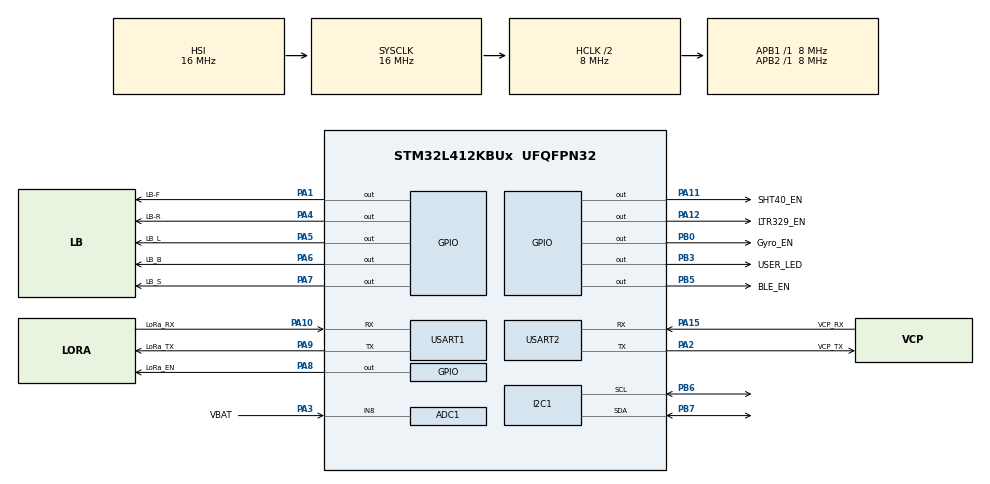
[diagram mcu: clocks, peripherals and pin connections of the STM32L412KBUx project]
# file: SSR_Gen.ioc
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ADC1.Channel-1\#ChannelRegularConversion=ADC_CHANNEL_8
ADC1.NbrOfConversionFlag=1
ADC1.OffsetNumber-1\#ChannelRegularConversion=ADC_OFFSET_NONE
ADC1.Rank-1\#ChannelRegularConversion=1
ADC1.SamplingTime-1\#ChannelRegularConversion=ADC_SAMPLETIME_2CYCLES_5
ADC1.master=1
I2C1.Timing=0x00201D2B
Mcu.Family=STM32L4
Mcu.Name=STM32L412KBUx
Mcu.Package=UFQFPN32
NVIC.ADC1_2_IRQn=true\:0\:0\:false\:false\:true\:true\:true\:true
NVIC.PriorityGroup=NVIC_PRIORITYGROUP_4
NVIC.RTC_WKUP_IRQn=true\:0\:0\:false\:false\:true\:true\:true\:true
PA0-CK_IN.Mode=HSE-External-Clock-Source-for-LittleOrca
PA0-CK_IN.Signal=RCC_CK_IN
PA1.GPIO_Label=LB-F
PA1.GPIO_PuPd=GPIO_NOPULL
PA1.PinState=GPIO_PIN_RESET
PA1.Signal=GPIO_Output
PA10.GPIO_Label=LoRa_RX
PA10.Mode=Asynchronous
PA10.Signal=USART1_RX
PA11.GPIO_Label=SHT40_EN
PA11.GPIO_PuPd=GPIO_PULLDOWN
PA11.Signal=GPIO_Output
PA12.GPIO_Label=LTR329_EN
PA12.GPIO_PuPd=GPIO_PULLDOWN
PA12.Signal=GPIO_Output
PA13\ (JTMS/SWDIO).GPIO_Label=SWDIO
PA13\ (JTMS/SWDIO).Mode=Serial_Wire
PA13\ (JTMS/SWDIO).Signal=SYS_JTMS-SWDIO
PA14\ (JTCK/SWCLK).GPIO_Label=SWCLK
PA14\ (JTCK/SWCLK).Mode=Serial_Wire
PA14\ (JTCK/SWCLK).Signal=SYS_JTCK-SWCLK
PA15\ (JTDI).GPIO_Label=VCP_RX
PA15\ (JTDI).Mode=Asynchronous
PA15\ (JTDI).Signal=USART2_RX
PA2.GPIO_Label=VCP_TX
PA2.Mode=Asynchronous
PA2.Signal=USART2_TX
PA3.GPIO_Label=VBAT
PA3.Signal=ADCx_IN8
PA4.GPIO_Label=LB-R
PA4.GPIO_PuPd=GPIO_NOPULL
PA4.PinState=GPIO_PIN_RESET
PA4.Signal=GPIO_Output
PA5.GPIO_Label=LB_L
PA5.GPIO_PuPd=GPIO_NOPULL
PA5.PinState=GPIO_PIN_RESET
PA5.Signal=GPIO_Output
PA6.GPIO_Label=LB_B
PA6.GPIO_PuPd=GPIO_NOPULL
PA6.PinState=GPIO_PIN_RESET
PA6.Signal=GPIO_Output
PA7.GPIO_Label=LB_S
PA7.GPIO_PuPd=GPIO_NOPULL
PA7.Signal=GPIO_Output
PA8.GPIO_Label=LoRa_EN
PA8.GPIO_PuPd=GPIO_PULLDOWN
PA8.Signal=GPIO_Output
PA9.GPIO_Label=LoRa_TX
PA9.Mode=Asynchronous
PA9.Signal=USART1_TX
PB0.GPIO_Label=Gyro_EN
PB0.GPIO_PuPd=GPIO_PULLDOWN
PB0.Signal=GPIO_Output
PB3\ (JTDO/TRACESWO).GPIO_Label=USER_LED
PB3\ (JTDO/TRACESWO).GPIO_PuPd=GPIO_NOPULL
PB3\ (JTDO/TRACESWO).Signal=GPIO_Output
PB5.GPIO_Label=BLE_EN
PB5.GPIO_PuPd=GPIO_PULLDOWN
PB5.Signal=GPIO_Output
PB6.GPIO_Pu=GPIO_NOPULL
PB6.Mode=I2C
PB6.Signal=I2C1_SCL
PB7.GPIO_Pu=GPIO_NOPULL
PB7.Mode=I2C
PB7.Signal=I2C1_SDA
PC14-OSC32_IN\ (PC14).Mode=LSE-External-Oscillator
PC14-OSC32_IN\ (PC14).Signal=RCC_OSC32_IN
PC15-OSC32_OUT\ (PC15).Mode=LSE-External-Oscillator
PC15-OSC32_OUT\ (PC15).Signal=RCC_OSC32_OUT
ProjectManager.HeapSize=0x200
ProjectManager.StackSize=0x400
ProjectManager.TargetToolchain=EWARM V8.32
RCC.ADCFreq_Value=16000000
RCC.AHBCLKDivider=RCC_SYSCLK_DIV2
RCC.AHBFreq_Value=8000000
RCC.APB1Freq_Value=8000000
RCC.APB1TimFreq_Value=8000000
RCC.APB2Freq_Value=8000000
RCC.APB2TimFreq_Value=8000000
RCC.CortexFreq_Value=8000000
RCC.HCLKFreq_Value=8000000
RCC.HSE_VALUE=8000000
RCC.HSI48_VALUE=48000000
RCC.HSI_VALUE=16000000
RCC.MSIClockRange=RCC_MSIRANGE_8
RCC.MSI_VALUE=16000000
RCC.PLLSourceVirtual=RCC_PLLSOURCE_HSI
RCC.SYSCLKFreq_VALUE=16000000
RCC.SYSCLKSource=RCC_SYSCLKSOURCE_HSI
RCC.USBFreq_Value=16000000
RCC.VCOOutputFreq_Value=128000000
RTC.WakeUpCounter=0x500B
SH.ADCx_IN8.0=ADC1_IN8,IN8-Single-Ended
USART1.VirtualMode-Asynchronous=VM_ASYNC
USART2.VirtualMode-Asynchronous=VM_ASYNC
VP_RTC_VS_RTC_Activate.Mode=RTC_Enabled
VP_RTC_VS_RTC_Calendar.Mode=RTC_Calendar
VP_RTC_VS_RTC_WakeUp_intern.Mode=WakeUp
board=NUCLEO-L412KB

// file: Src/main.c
/* USER CODE BEGIN Header */
/**
 ******************************************************************************
 * @file           : main.c
 * @brief          : Main program body
 ******************************************************************************
 * @attention
 *
 * Copyright (c) 2024 STMicroelectronics.
 * All rights reserved.
 *
 * This software is licensed under terms that can be found in the LICENSE file
 * in the root directory of this software component.
 * If no LICENSE file comes with this software, it is provided AS-IS.
 *
 ******************************************************************************
 */
/* USER CODE END Header */
#include "main.h"
#include "adc.h"
#include "i2c.h"
#include "rtc.h"
#include "usart.h"
#include "gpio.h"

/* USER CODE BEGIN Includes */
#include "ble_module.h"
#include "ltr329.h"
#include "sht40.h"
#include "linebot.h"
#include "gyro.h"
#include "wio5e.h"
/* USER CODE END Includes */

/* USER CODE BEGIN PD */

/* Comment when no debug needed */
#define DEBUG

#define SCAN_AIR_TIME 5000
#define BEACON_AIR_TIME 7000
#define SLEEP_TIME 10000
/* USER CODE END PD */

/* USER CODE BEGIN PV */
ble_module_data_t ble_data;
ble_beacon_result_t ble_beacon_result;
ble_scan_result_t ble_scan_result;
ssr_data_t ssr_data[256];
uint8_t ssr_data_index = 0;

uint8_t bool_buffer = 0;

/* UART BUFFER */
uint8_t Buffer[140] = {0};

/* USER CODE END PV */

void SystemClock_Config(void);
/* USER CODE BEGIN PFP */
void clearBuf();
/* USER CODE END PFP */

int main(void)
{

  /* MCU Configuration--------------------------------------------------------*/

  /* Reset of all peripherals, Initializes the Flash interface and the Systick. */
  HAL_Init();

  /* USER CODE BEGIN Init */

  /* I2C lib function calls */
  // bleDelayCallback(HAL_Delay);
  bleDelayCallback(half_sleep);
  bleSendCallback(HAL_I2C_Master_Transmit);
  bleReceiveCallback(HAL_I2C_Master_Receive);
  bleAvailableCallback(HAL_I2C_IsDeviceReady);
  bleWakeCallback(wakeBleModule);

  /* ltr-386 lib function calls */
  // ltrDelayCallback(HAL_Delay);
  ltrDelayCallback(half_sleep);
  // ltrWakeCallback(wakeltrModule);
  // ltrSleepCallback(sleepltrModule);

  /* sht40 lob function calls */
  // sht40DelayCallback(HAL_Delay);
  sht40DelayCallback(half_sleep);

  /* LineBot lob function calls */
  // lineBotDelayCallback(HAL_Delay);
  lineBotDelayCallback(half_sleep);

  /* LineBot lob function calls */
  loraDelayCallback(half_sleep);

  /* mpu6050 lob function calls */
  // gyroDelayCallback(HAL_Delay);
  gyroDelayCallback(half_sleep);

  /* USER CODE END Init */

  /* Configure the system clock */
  SystemClock_Config();

  /* USER CODE BEGIN SysInit */

  /* low power clock configuration */
  // lpClockConfigCallback(SystemClock_Config);

  /* USER CODE END SysInit */

  /* Initialize all configured peripherals */
  MX_GPIO_Init();
  MX_I2C1_Init();
  MX_USART2_UART_Init();
  MX_RTC_Init();
  MX_ADC1_Init();
  MX_USART1_UART_Init();
  /* USER CODE BEGIN 2 */
  // HAL_Delay(2000);
  /* USER CODE END 2 */

  /* Infinite loop */
  /* USER CODE BEGIN WHILE */

  while (1)
  {
    ssr_data[ssr_data_index].seq_number = ssr_data_index; // Define sequence number

#ifdef DEBUG
    clearBuf();
    sprintf((char *)Buffer, "\r\n Start on id: %d\r\n", SSR_ID);
    serial_print((char *)Buffer);
#endif

    taskReadBattery(); // Read the ADC voltage

    // Determine path of execution based on voltage (energy) available
    taskDetermineTasks();

    if (checkBool(&bool_buffer, TASK_SENS))
    {
      taskSens();                         // Do the task
      clearBool(&bool_buffer, TASK_SENS); // Clear the bit in bool_buffer
    }

    if (checkBool(&bool_buffer, TASK_STORE))
    {
      taskStore();                         // Do the task
      clearBool(&bool_buffer, TASK_STORE); // Clear the bit in bool_buffer
    }

    if (checkBool(&bool_buffer, TASK_LORA))
    {
      taskLora();                         // Do the task
      clearBool(&bool_buffer, TASK_LORA); // Clear the bit in bool_buffer
    }

    if (checkBool(&bool_buffer, TASK_SCAN))
    {
      taskScan();                         // Do the task
      clearBool(&bool_buffer, TASK_SCAN); // Clear the bit in bool_buffer
    }

    if (checkBool(&bool_buffer, TASK_BEACON))
    {
      half_sleep(2000);                     // Wait a while before starting the BLE up again.
      taskBeacon();                         // Do the task
      clearBool(&bool_buffer, TASK_BEACON); // Clear the bit in bool_buffer
    }

    if (checkBool(&bool_buffer, TASK_DRIVE))
    {
      taskDrive();                         // Do the task
      clearBool(&bool_buffer, TASK_DRIVE); // Clear the bit in bool_buffer
    }

    if (checkBool(&bool_buffer, TASK_DEEP_SLEEP))
    {
      taskDeepSleep();                          // Do the task
      clearBool(&bool_buffer, TASK_DEEP_SLEEP); // Clear the bit in bool_buffer
    }

    if (checkBool(&bool_buffer, TASK_LIGHT_SLEEP))
    {
      taskLightSleep();                          // Do the task
      clearBool(&bool_buffer, TASK_LIGHT_SLEEP); // Clear the bit in bool_buffer
    }

    // Program shouldn't reach this place if deep sleep is used
    /* USER CODE END WHILE */

  }
}

void SystemClock_Config(void)
{
  RCC_OscInitTypeDef RCC_OscInitStruct = {0};
  RCC_ClkInitTypeDef RCC_ClkInitStruct = {0};

  /** Configure the main internal regulator output voltage
   */
  if (HAL_PWREx_ControlVoltageScaling(PWR_REGULATOR_VOLTAGE_SCALE1) != HAL_OK)
  {
    Error_Handler();
  }

  /** Initializes the RCC Oscillators according to the specified parameters
   * in the RCC_OscInitTypeDef structure.
   */
  RCC_OscInitStruct.OscillatorType = RCC_OSCILLATORTYPE_HSI | RCC_OSCILLATORTYPE_LSI;
  RCC_OscInitStruct.HSIState = RCC_HSI_ON;
  RCC_OscInitStruct.HSICalibrationValue = RCC_HSICALIBRATION_DEFAULT;
  RCC_OscInitStruct.LSIState = RCC_LSI_ON;
  RCC_OscInitStruct.PLL.PLLState = RCC_PLL_NONE;
  if (HAL_RCC_OscConfig(&RCC_OscInitStruct) != HAL_OK)
  {
    Error_Handler();
  }

  /** Initializes the CPU, AHB and APB buses clocks
   */
  RCC_ClkInitStruct.ClockType = RCC_CLOCKTYPE_HCLK | RCC_CLOCKTYPE_SYSCLK | RCC_CLOCKTYPE_PCLK1 | RCC_CLOCKTYPE_PCLK2;
  RCC_ClkInitStruct.SYSCLKSource = RCC_SYSCLKSOURCE_HSI;
  RCC_ClkInitStruct.AHBCLKDivider = RCC_SYSCLK_DIV2;
  RCC_ClkInitStruct.APB1CLKDivider = RCC_HCLK_DIV1;
  RCC_ClkInitStruct.APB2CLKDivider = RCC_HCLK_DIV1;

  if (HAL_RCC_ClockConfig(&RCC_ClkInitStruct, FLASH_LATENCY_0) != HAL_OK)
  {
    Error_Handler();
  }
}

/* USER CODE BEGIN 4 */

void test_code()
{
  char Buffer[16] = {0};
  sprintf(Buffer, "Test code\r\n");
  serial_print(Buffer);
}

void taskReadBattery()
{
  ssr_data[ssr_data_index].dev_voltage = (readVoltage(&hadc1)) * 10000.0; // Convert to value and save only int

#ifdef DEBUG
  clearBuf();
  sprintf((char *)Buffer, "taskReadBattery - mV: %d \r\n", ssr_data[ssr_data_index].dev_voltage / 10);
  serial_print((char *)Buffer);
#endif
}

void taskDetermineTasks()
{
  // Do this based on the voltage value.
  // For now, we use light sleep due to no non-volatile memory available

  if (ssr_data[ssr_data_index].dev_voltage / 10 > VOLTAGE_MAX_LOW * 1000) // Fully charged
  {
    bool_buffer = 0b10111111; // Do all tasks
  }
  else if (ssr_data[ssr_data_index].dev_voltage / 10 < VOLTAGE_SEM_MAX_HIGH * 1000 && ssr_data[ssr_data_index].dev_voltage / 10 >= (double)VOLTAGE_SEM_MAX_LOW * 1000)
  {
    bool_buffer = 0b10011111; // Do not drive
  }
  else if (ssr_data[ssr_data_index].dev_voltage / 10 < VOLTAGE_MED_HIGH * 1000 && ssr_data[ssr_data_index].dev_voltage / 10 >= (double)VOLTAGE_MED_LOW * 1000)
  {
    bool_buffer = 0b10011011; // Do not do lora & drive
  }
  else if (ssr_data[ssr_data_index].dev_voltage / 10 < VOLTAGE_LOW_HIGH * 1000)
  {
    bool_buffer = 0b10010000; // Only deep sleep and beacon
  }
  else
  {
    bool_buffer = 0b10000000; // Only deep sleep
  }

  // Here, the boolean buffer **bool_buffer** is used with the defines of TASK described in main.h.
  // bool_buffer = 0b010000011; // Set DEEP_SLEEP, STORE, SENS,
  //  bool_buffer = 0b10010001; // Set SLEEP, BEACON, SENS

  // bool_buffer = 0b01001000; // Set DEEP_SLEEP, SCAN, SENS
  // bool_buffer = 0b10011001; // Set SLEEP, BEACON, SCAN, SENS
  //   bool_buffer = 0b10000001; // Set SLEEP, SENS
  //   bool_buffer = 0b10000000; // Set SLEEP

#ifdef DEBUG
  clearBuf();
  sprintf((char *)Buffer, "taskDetermineTasks \r\n sens %d\r\n store %d\r\n lora %d\r\n scan %d\r\n beacon %d\r\n drive %d\r\n deepsleep %d\r\n lightsleep %d\r\n",
          bool_buffer >> 0 & 0x01, bool_buffer >> 1 & 0x01, bool_buffer >> 2 & 0x01, bool_buffer >> 3 & 0x01, bool_buffer >> 4 & 0x01, bool_buffer >> 5 & 0x01, bool_buffer >> 6 & 0x01, bool_buffer >> 7 & 0x01);
  serial_print((char *)Buffer);
#endif
}

void taskSens()
{
  uint16_t lux = 0;
  float temperature = 0;
  float humidity = 0;
  uint16_t gyro_x = 0;
  uint8_t gyro_y = 0;
  uint8_t gyro_z = 0;

  /* Initialize sensors */
  ltr329Init(&hi2c1);
  sht40Init(&hi2c1);
  // setMPU6050();

  /* Read out the sens values */
  ltr329GetLuxAll(&hi2c1, &lux);
  sht40ReadTempAndHumidity(&hi2c1, &temperature, &humidity, 2);
  // readGyroscope(&gyro_x, &gyro_y, &gyro_z);

  /* put to sleep/ halt */
  ltr329Sleep(&hi2c1);
  sht40Sleep(&hi2c1);
  // Sleep MPU

  /* Compose data structure of the environment */
  ssr_data[ssr_data_index].env_humidity = (uint8_t)(humidity);
  ssr_data[ssr_data_index].env_temperature = (uint16_t)(temperature * 100);
  ssr_data[ssr_data_index].env_lux = (uint16_t)(lux);
  ssr_data[ssr_data_index].dev_gyro_x = (uint8_t)gyro_x;
  ssr_data[ssr_data_index].dev_gyro_y = (uint8_t)gyro_y;
  ssr_data[ssr_data_index].dev_gyro_z = (uint8_t)gyro_z;

/* Display onto serial monitor */
#ifdef DEBUG
  clearBuf();
  sprintf((char *)Buffer, "taskSens - lux: %d, t: %d, h: %d, x: %d, y: %d, z: %d \r\n", ssr_data[ssr_data_index].env_lux, ssr_data[ssr_data_index].env_temperature, ssr_data[ssr_data_index].env_humidity, gyro_x, gyro_y, gyro_z);
  serial_print((char *)Buffer);
#endif
}

void taskStore()
{
  // TODO
  // ssr_data_index++; // Increase sequence number
#ifdef DEBUG
  clearBuf();
  sprintf((char *)Buffer, "taskStore - storing index %d\r\n", ssr_data_index);
  serial_print((char *)Buffer);
#endif
}

void taskLora()
{
// TODO
#ifdef DEBUG
  clearBuf();
  sprintf((char *)Buffer, "taskLora - sending out \r\n");
  serial_print((char *)Buffer);
#endif
}

void taskScan()
{
  uint16_t air_time = SCAN_AIR_TIME;

  ble_data.mode = 1;
  ble_data.ssr_id = SSR_ID;
  ble_data.air_time = air_time / 100;

  ble_data.env_temperature = ssr_data[ssr_data_index].env_temperature; // Range from -327.68 to 327.67 °C (val/100=°C)
  ble_data.env_humidity = ssr_data[ssr_data_index].env_humidity;       // Range from -0-100%
  ble_data.env_lux = ssr_data[ssr_data_index].env_lux;                 // Range from 0 to 1000
  ble_data.dev_voltage = ssr_data[ssr_data_index].dev_voltage;         // Range from 0-6.5535V (val/10000=V) (val/10=mV)
  ble_data.dev_gyro_x = ssr_data[ssr_data_index].dev_gyro_x;           // Range from -60 to 60 (val*3=°)
  ble_data.dev_gyro_y = ssr_data[ssr_data_index].dev_gyro_y;           // Range from -60 to 60 (val*3=°)
  ble_data.dev_gyro_z = ssr_data[ssr_data_index].dev_gyro_z;           // Range from -60 to 60 (val*3=°)

#ifdef DEBUG
  clearBuf();
  sprintf((char *)Buffer, "taskScan - start scan %d \r\n", ble_data.air_time);
  serial_print((char *)Buffer);
#endif

  ble_scan_result = scan(&hi2c1, &ble_data);

/* Display onto serial monitor */
#ifdef DEBUG
  clearBuf();
  sprintf((char *)Buffer,
          "taskScan - received ssr_id: %d temp: %d h: %d l: %d x: %d y: %d z: %d vcc: %d rssi: %d\r\n",
          ble_scan_result.ssr_id, ble_scan_result.env_temperature, ble_scan_result.env_humidity, ble_scan_result.env_lux, ble_scan_result.dev_gyro_x, ble_scan_result.dev_gyro_y, ble_scan_result.dev_gyro_z, ble_scan_result.dev_voltage, ble_scan_result.rssi);
  serial_print((char *)Buffer);
#endif
}

void taskBeacon()
{
  uint16_t air_time = BEACON_AIR_TIME; // 10 seconds beacon

#ifdef DEBUG
  clearBuf();
  sprintf((char *)Buffer, "taskBeacon - ssr_data_index %d \r\n", ssr_data_index);
  serial_print((char *)Buffer);
#endif

  ble_data.mode = 0;
  ble_data.ssr_id = SSR_ID;
  ble_data.air_time = air_time / 100;

  ble_data.env_temperature = ssr_data[ssr_data_index].env_temperature; // Range from -327.68 to 327.67 °C (val/100=°C)
  ble_data.env_humidity = ssr_data[ssr_data_index].env_humidity;       // Range from -0-100%
  ble_data.env_lux = ssr_data[ssr_data_index].env_lux;                 // Range from 0 to 1000
  ble_data.dev_voltage = ssr_data[ssr_data_index].dev_voltage;         // Range from 0-6.5535V (val/10000=V) (val/10=mV)
  ble_data.dev_gyro_x = ssr_data[ssr_data_index].dev_gyro_x;           // Range from -60 to 60 (val*3=°)
  ble_data.dev_gyro_y = ssr_data[ssr_data_index].dev_gyro_y;           // Range from -60 to 60 (val*3=°)
  ble_data.dev_gyro_z = ssr_data[ssr_data_index].dev_gyro_z;           // Range from -60 to 60 (val*3=°)

#ifdef DEBUG
  clearBuf();
  sprintf((char *)Buffer, "taskBeacon - start beacon %d \r\n", ble_data.air_time);
  serial_print((char *)Buffer);
#endif

  ble_beacon_result = beacon(&hi2c1, &ble_data);

#ifdef DEBUG
  clearBuf();
  sprintf((char *)Buffer, "taskBeacon received - amount of ACK: %d \r\n", ble_beacon_result.amount_of_ack);
  serial_print((char *)Buffer);
#endif
}

void taskDrive()
{

#ifdef DEBUG
  clearBuf();
  sprintf((char *)Buffer, "taskDrive - driving\r\n");
  serial_print((char *)Buffer);
#endif

  setupLineBot();

  DRIVE_STATE drive_state = STOP;

  //Drive around
  //Some task determination that influence the driveing direction

  drive_state = FORWARD;
  driveLineBot(drive_state);
  half_sleep(1000);

  drive_state = STOP;
  driveLineBot(drive_state);
  half_sleep(500);

  drive_state = LEFT;
  driveLineBot(drive_state);
  half_sleep(500);

  drive_state = STOP;
  driveLineBot(drive_state);
}

void taskDeepSleep()
{
#ifdef DEBUG
  clearBuf();
  sprintf((char *)Buffer, "taskDeepSleep - go to deep sleep \r\n");
  serial_print((char *)Buffer);
#endif

  deep_sleep(SLEEP_TIME);
}

void taskLightSleep()
{
#ifdef DEBUG
  clearBuf();
  sprintf((char *)Buffer, "taskLightSleep - go to light sleep \r\n");
  serial_print((char *)Buffer);
#endif

  half_sleep(SLEEP_TIME);
}

void wakeBleModule()
{
  HAL_GPIO_WritePin(BLE_EN_GPIO_Port, BLE_EN_Pin, GPIO_PIN_SET);
  HAL_Delay(100);
  HAL_GPIO_WritePin(BLE_EN_GPIO_Port, BLE_EN_Pin, GPIO_PIN_RESET);
}
void wakeltrModule()
{
  HAL_GPIO_WritePin(LTR329_EN_GPIO_Port, LTR329_EN_Pin, GPIO_PIN_SET);
}
void sleepltrModule()
{
  HAL_GPIO_WritePin(LTR329_EN_GPIO_Port, LTR329_EN_Pin, GPIO_PIN_RESET);
}

uint16_t counter_value(uint16_t time_millis)
{
  uint16_t counter_value = 0xFFFF; //= 0x2806; // 5 seconds
  // Calculate the time
  if (time_millis >= MAX_RTC_COUNTER_VALUE) // Maximum available wait time
    counter_value = 0xFFFF;                 // Set maximum available time
  else
    counter_value = (uint16_t)((time_millis / 1000.0) / 0.000488);

  if (counter_value <= 0x1)
  {
    counter_value = 0x2; // Correspondent to 0.976 ms
  }

  return counter_value;
}

void half_sleep(uint32_t time)
{
  // Determine amounts of replay based on MAX_RTC_COUNTER_VALUE
  uint8_t cycles = 1; // Default 1 cycle

  if (time > MAX_RTC_COUNTER_VALUE)
  {
    cycles = (time / MAX_RTC_COUNTER_VALUE);

    if (MAX_RTC_COUNTER_VALUE * cycles < time)
    {
      cycles++;
    }
  }

  while (cycles > 0)
  {
    // Setup RTC and setup interupt
    //  MX_RTC_Init(); //DOne in main.c
    HAL_SuspendTick();
    HAL_RTCEx_SetWakeUpTimer_IT(&hrtc, counter_value(time), RTC_WAKEUPCLOCK_RTCCLK_DIV16, 0);

    /* Enter STOP 2 mode */
    HAL_PWREx_EnterSTOP2Mode(PWR_STOPENTRY_WFI);
    HAL_RTCEx_DeactivateWakeUpTimer(&hrtc);
    SystemClock_Config();
    HAL_ResumeTick();

    cycles--;
    time -= MAX_RTC_COUNTER_VALUE;
  }
}

void deep_sleep(uint32_t time)
{
  GPIO_Disable();
  HAL_PWREx_EnableSRAM2ContentRetention();
  HAL_PWREx_EnableBORPVD_ULP();
  HAL_RTCEx_DeactivateWakeUpTimer(&hrtc);
  HAL_RTCEx_SetWakeUpTimer_IT(&hrtc, counter_value(time), RTC_WAKEUPCLOCK_RTCCLK_DIV16, 0);
  HAL_PWR_EnterSTANDBYMode();
}

void GPIO_Disable(void)
{
  /* Enable Power Clock */
  __HAL_RCC_PWR_CLK_ENABLE();

  // Set GPIO as analog read so floating.
  GPIO_InitTypeDef GPIO_InitStructure;

  /* Enable GPIOs clock */
  __HAL_RCC_GPIOA_CLK_ENABLE();
  __HAL_RCC_GPIOB_CLK_ENABLE();
  __HAL_RCC_GPIOC_CLK_ENABLE();
  __HAL_RCC_GPIOD_CLK_ENABLE();
  __HAL_RCC_GPIOH_CLK_ENABLE();

  /* Configure all GPIO port pins in Analog Input mode (floating input trigger OFF) */
  /* Note: Debug using ST-Link is not possible during the execution of this   */
  /*       example because communication between ST-link and the device       */
  /*       under test is done through UART. All GPIO pins are disabled (set   */
  /*       to analog input mode) including  UART I/O pins.           */
  GPIO_InitStructure.Pin = GPIO_PIN_All;
  GPIO_InitStructure.Mode = GPIO_MODE_ANALOG;
  GPIO_InitStructure.Pull = GPIO_NOPULL;

  HAL_GPIO_Init(GPIOA, &GPIO_InitStructure);
  HAL_GPIO_Init(GPIOB, &GPIO_InitStructure);
  HAL_GPIO_Init(GPIOC, &GPIO_InitStructure);
  HAL_GPIO_Init(GPIOD, &GPIO_InitStructure);
  HAL_GPIO_Init(GPIOH, &GPIO_InitStructure);

  /* Disable GPIOs clock */
  __HAL_RCC_GPIOA_CLK_DISABLE();
  __HAL_RCC_GPIOB_CLK_DISABLE();
  __HAL_RCC_GPIOC_CLK_DISABLE();
  __HAL_RCC_GPIOD_CLK_DISABLE();
  __HAL_RCC_GPIOH_CLK_DISABLE();
}

void setBool(uint8_t *bool_carrier, uint8_t bool_place)
{
  *bool_carrier |= 0b1 << bool_place;
}

void clearBool(uint8_t *bool_carrier, uint8_t bool_place)
{
  *bool_carrier &= ~(0b1 << bool_place);
}

uint8_t checkBool(uint8_t *bool_carrier, uint8_t bool_place)
{
  return *bool_carrier & (0b1 << bool_place);
}

void clearBuf()
{
  for (uint8_t i = 0; i < sizeof(Buffer); i++)
  {
    Buffer[i] = 0;
  }
}
/* USER CODE END 4 */

void Error_Handler(void)
{
  __disable_irq();
  while (1)
  {
  }
}
